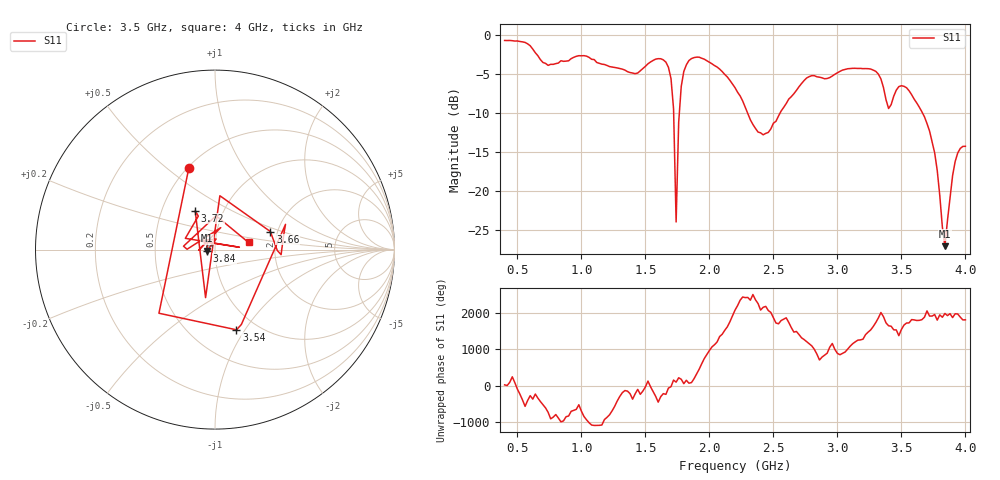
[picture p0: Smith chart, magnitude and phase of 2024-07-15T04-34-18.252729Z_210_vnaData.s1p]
!Created with skrf (http://scikit-rf.org).
# Hz S RI R 50.0
!freq ReS11 ImS11
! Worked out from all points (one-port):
!   181 points, 400 MHz to 4 GHz, reference 50 ohm
!   lowest |S11| = -27.0 dB at 3.84 GHz (marker M1), VSWR 1.09, Z = 45.8 - j0.592 ohm
!   |S11| at or under -10 dB: 1.721 GHz to 1.765 GHz (44.16 MHz wide, 2.53 % of centre); 2.3 GHz to 2.55 GHz (250 MHz wide, 10.3 % of centre); 3.667 GHz to end of sweep
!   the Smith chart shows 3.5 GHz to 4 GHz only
!   S11 on the Smith chart (normalised r, x): 3.5 GHz: 0.51, +0.60; 3.54 GHz: 0.81, -0.92; 3.66 GHz: 1.83, +0.41; 3.72 GHz: 0.73, +0.34; 3.84 GHz: 0.92, -0.01; 4 GHz: 1.46, +0.13
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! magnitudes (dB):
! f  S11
! 400 MHz  -0.6
! 740 MHz  -3.8
! 860 MHz  -3.3
! 1.3 GHz  -4.2
! 1.68 GHz  -4.1
! 1.7 GHz  -5.5
! 1.72 GHz  -9.4
! 1.74 GHz  -23.9
! 1.76 GHz  -11.1
! 1.78 GHz  -6.5
! 1.8 GHz  -4.6
! 1.86 GHz  -3.0
! 2.2 GHz  -6.7
! 2.42 GHz  -12.7
! 2.66 GHz  -7.5
! 2.78 GHz  -5.3
! 3.1 GHz  -4.2
! 3.3 GHz  -4.6
! 3.4 GHz  -9.4
! 3.5 GHz  -6.4
! 3.54 GHz  -6.7
! 3.56 GHz  -7.1
! 3.66 GHz  -9.8
! 3.72 GHz  -12.2
! 3.78 GHz  -17.3
! 3.84 GHz  -27.0
! 3.92 GHz  -16.2
! 4 GHz  -14.2
